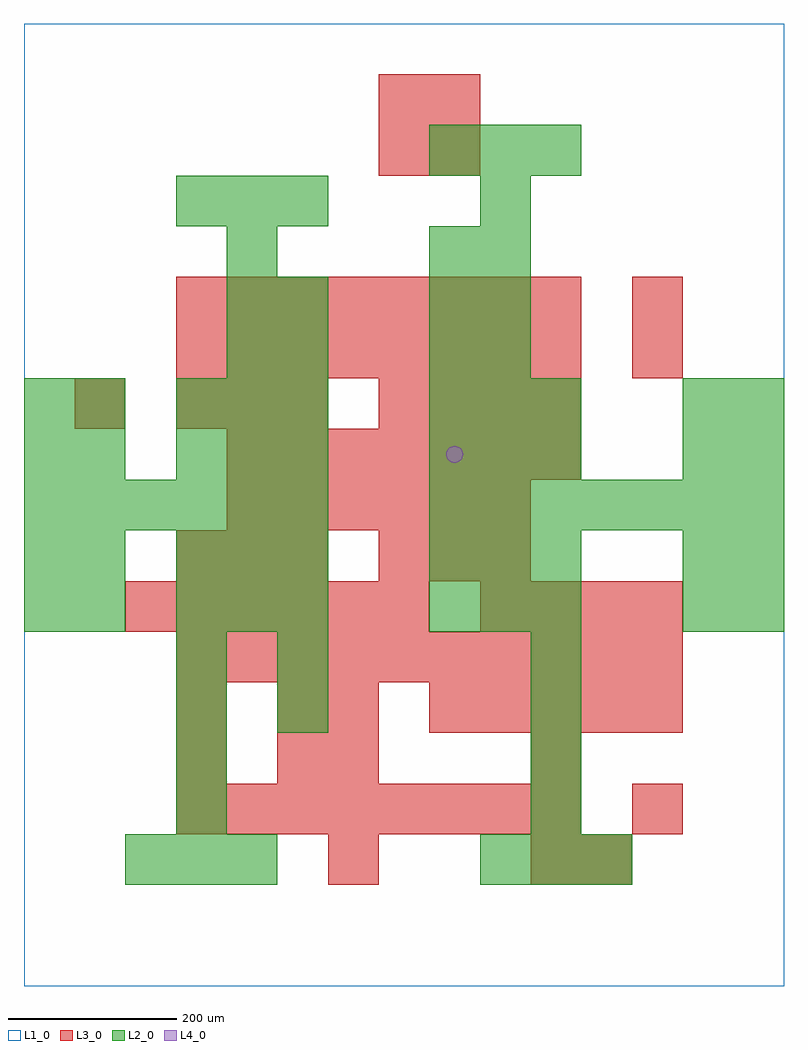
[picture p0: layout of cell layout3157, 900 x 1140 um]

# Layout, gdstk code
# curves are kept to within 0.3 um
import gdstk
lib = gdstk.Library(unit=1e-6, precision=1e-09)
def R(c, l, rs):  # rectangles x0, y0, x1, y1
    for r in rs: c.add(gdstk.rectangle(r[:2], r[2:], *l))
def A(c, l, x, y, w, h, nx, ny, dx, dy):  # array of equal rectangles
    R(c, l, [(x+i*dx, y+j*dy, x+i*dx+w, y+j*dy+h) for i in range(nx) for j in range(ny)])
def P(c, l, *ps):  # polygons
    for p in ps: c.add(gdstk.Polygon(p, *l))
L1_0 = (1, 0)
L2_0 = (2, 0)
L3_0 = (3, 0)
L4_0 = (4, 0)

layout3157 = lib.new_cell('layout3157')
R(layout3157, L1_0, [(0,0,900,1140)])
A(layout3157, L2_0, 120, 120, 60, 60, 3, 1, 60, 0)
A(layout3157, L2_0, 540, 120, 60, 60, 3, 1, 60, 0)
A(layout3157, L2_0, 180, 180, 60, 60, 1, 4, 0, 60)
A(layout3157, L2_0, 600, 180, 60, 60, 1, 4, 0, 60)
A(layout3157, L2_0, 180, 420, 60, 60, 3, 2, 60, 60)
A(layout3157, L2_0, 480, 420, 60, 60, 3, 2, 60, 60)
A(layout3157, L2_0, 0, 540, 60, 60, 6, 1, 60, 0)
A(layout3157, L2_0, 480, 540, 60, 60, 7, 1, 60, 0)
A(layout3157, L2_0, 180, 600, 60, 60, 3, 2, 60, 60)
A(layout3157, L2_0, 480, 600, 60, 60, 3, 2, 60, 60)
A(layout3157, L2_0, 240, 720, 60, 60, 1, 3, 0, 60)
A(layout3157, L2_0, 480, 720, 60, 60, 1, 3, 0, 60)
A(layout3157, L2_0, 540, 720, 60, 60, 1, 4, 0, 60)
A(layout3157, L2_0, 180, 900, 60, 60, 3, 1, 60, 0)
A(layout3157, L2_0, 480, 960, 60, 60, 3, 1, 60, 0)
R(layout3157, L2_0, [(300,300,360,360), (300,360,360,420), (0,420,60,480), (60,420,120,480), (780,420,840,480), (840,420,900,480), (0,480,60,540), (60,480,120,540), (780,480,840,540), (840,480,900,540), (0,600,60,660), (60,600,120,660), (780,600,840,660), (840,600,900,660), (0,660,60,720), (60,660,120,720), (780,660,840,720), (840,660,900,720), (300,720,360,780), (300,780,360,840)])
A(layout3157, L3_0, 180, 180, 60, 60, 8, 2, 60, 540)
A(layout3157, L3_0, 480, 300, 60, 60, 5, 1, 60, 0)
A(layout3157, L3_0, 180, 360, 60, 60, 10, 1, 60, 0)
A(layout3157, L3_0, 120, 420, 60, 60, 6, 1, 60, 0)
A(layout3157, L3_0, 540, 420, 60, 60, 4, 1, 60, 0)
A(layout3157, L3_0, 180, 480, 60, 60, 3, 2, 60, 180)
A(layout3157, L3_0, 420, 480, 60, 60, 3, 1, 60, 0)
A(layout3157, L3_0, 240, 540, 60, 60, 6, 1, 60, 0)
A(layout3157, L3_0, 240, 600, 60, 60, 7, 1, 60, 0)
A(layout3157, L3_0, 420, 660, 60, 60, 4, 1, 60, 0)
A(layout3157, L3_0, 180, 780, 60, 60, 8, 1, 60, 0)
R(layout3157, L3_0, [(360,120,420,180), (600,120,660,180), (660,120,720,180), (720,180,780,240), (180,240,240,300), (300,240,360,300), (360,240,420,300), (600,240,660,300), (180,300,240,360), (300,300,360,360), (360,300,420,360), (60,660,120,720), (720,720,780,780), (720,780,780,840), (420,960,480,1020), (480,960,540,1020), (420,1020,480,1080), (480,1020,540,1080)])
P(layout3157, L4_0, [(520,630),(519.239,633.827),(517.071,637.071),(513.827,639.239),(510,640),(506.173,639.239),(502.929,637.071),(500.761,633.827),(500,630),(500.761,626.173),(502.929,622.929),(506.173,620.761),(510,620),(513.827,620.761),(517.071,622.929),(519.239,626.173)])

lib.write_gds('layout3157.gds')
